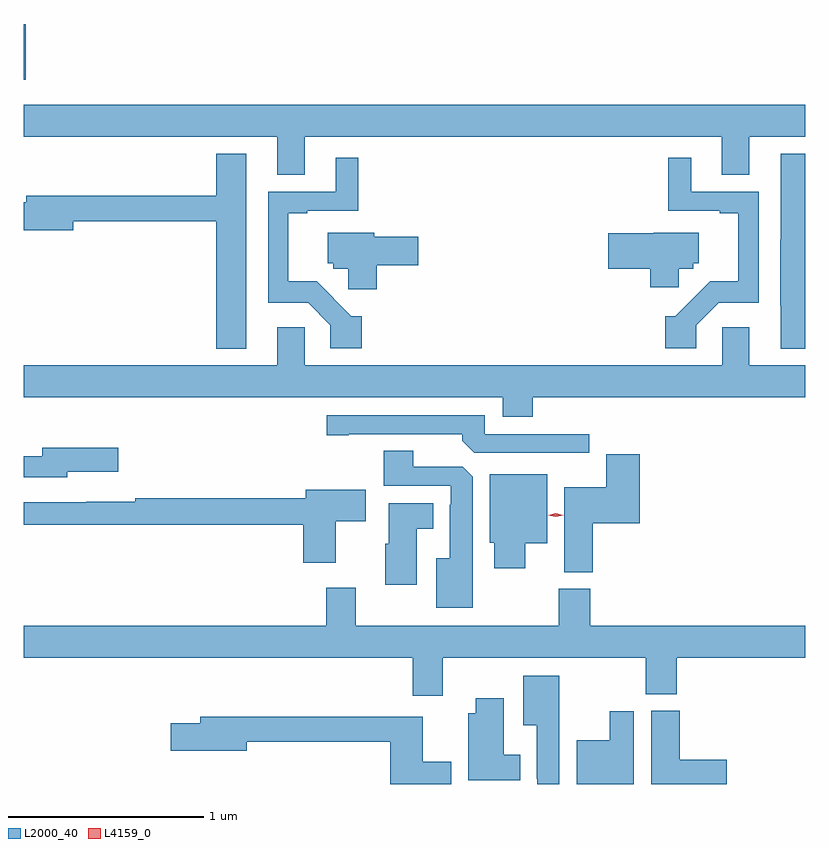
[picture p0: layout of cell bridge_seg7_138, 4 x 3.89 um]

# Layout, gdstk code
import gdstk
lib = gdstk.Library(unit=1e-6, precision=1e-09)
def R(c, l, rs):  # rectangles x0, y0, x1, y1
    for r in rs: c.add(gdstk.rectangle(r[:2], r[2:], *l))
def P(c, l, *ps):  # polygons
    for p in ps: c.add(gdstk.Polygon(p, *l))
L2000_40 = (2000, 40)
L4159_0 = (4159, 0)

bridge_seg7_138 = lib.new_cell('bridge_seg7_138')
R(bridge_seg7_138, L2000_40, [(724.244,1050.192,724.256,1050.478)])
P(bridge_seg7_138, L2000_40, [(724.244,1049.9),(725.543,1049.9),(725.543,1049.706),(725.683,1049.706),(725.683,1049.9),(727.817,1049.9),(727.817,1049.706),(727.957,1049.706),(727.957,1049.9),(728.244,1049.9),(728.244,1050.064),(724.244,1050.064)],
  [(728.244,1049.815),(728.117,1049.815),(728.117,1049.373),(728.114,1049.373),(728.114,1049.037),(728.117,1049.037),(728.117,1048.817),(728.244,1048.817)],
  [(725.383,1049.815),(725.231,1049.815),(725.231,1049.599),(724.259,1049.599),(724.259,1049.565),(724.244,1049.565),(724.244,1049.423),(724.498,1049.423),(724.498,1049.47),(725.231,1049.47),(725.231,1048.817),(725.383,1048.817)],
  [(727.686,1048.938),(727.8,1049.052),(728.005,1049.052),(728.005,1049.619),(727.66,1049.619),(727.66,1049.794),(727.543,1049.794),(727.543,1049.523),(727.805,1049.523),(727.805,1049.511),(727.901,1049.511),(727.901,1049.162),(727.757,1049.162),(727.579,1048.984),(727.526,1048.984),(727.526,1048.818),(727.686,1048.818)],
  [(725.975,1048.984),(725.921,1048.984),(725.743,1049.162),(725.599,1049.162),(725.599,1049.511),(725.695,1049.511),(725.695,1049.523),(725.957,1049.523),(725.957,1049.794),(725.84,1049.794),(725.84,1049.619),(725.495,1049.619),(725.495,1049.052),(725.7,1049.052),(725.814,1048.938),(725.814,1048.818),(725.975,1048.818)],
  [(726.05,1049.243),(726.262,1049.243),(726.262,1049.39),(726.037,1049.39),(726.037,1049.41),(725.801,1049.41),(725.801,1049.253),(725.829,1049.253),(725.829,1049.226),(725.905,1049.226),(725.905,1049.121),(726.05,1049.121)],
  [(727.596,1049.226),(727.671,1049.226),(727.671,1049.253),(727.699,1049.253),(727.699,1049.41),(727.467,1049.41),(727.467,1049.408),(727.236,1049.408),(727.236,1049.225),(727.451,1049.225),(727.451,1049.132),(727.596,1049.132)],
  [(726.848,1048.568),(728.244,1048.568),(728.244,1048.732),(727.957,1048.732),(727.957,1048.927),(727.818,1048.927),(727.818,1048.732),(725.682,1048.732),(725.682,1048.927),(725.543,1048.927),(725.543,1048.732),(724.244,1048.732),(724.244,1048.568),(726.695,1048.568),(726.695,1048.469),(726.848,1048.469)],
  [(727.138,1048.38),(726.603,1048.38),(726.603,1048.476),(725.796,1048.476),(725.796,1048.375),(725.908,1048.375),(725.908,1048.38),(726.488,1048.38),(726.488,1048.346),(726.549,1048.284),(727.138,1048.284)],
  [(724.468,1048.187),(724.729,1048.187),(724.729,1048.309),(724.34,1048.309),(724.34,1048.267),(724.244,1048.267),(724.244,1048.158),(724.468,1048.158)],
  [(726.541,1048.163),(726.492,1048.212),(726.238,1048.212),(726.238,1048.295),(726.086,1048.295),(726.086,1048.116),(726.429,1048.116),(726.429,1048.019),(726.425,1048.019),(726.425,1047.745),(726.356,1047.745),(726.356,1047.491),(726.541,1047.491)],
  [(727.157,1047.923),(727.397,1047.923),(727.397,1048.276),(727.226,1048.276),(727.226,1048.108),(727.01,1048.108),(727.01,1047.673),(727.157,1047.673)],
  [(726.811,1047.821),(726.922,1047.821),(726.922,1048.174),(726.629,1048.174),(726.629,1047.825),(726.653,1047.825),(726.653,1047.693),(726.811,1047.693)],
  [(725.842,1047.934),(725.995,1047.934),(725.995,1048.096),(725.687,1048.096),(725.687,1048.052),(724.816,1048.052),(724.816,1048.033),(724.564,1048.033),(724.564,1048.032),(724.244,1048.032),(724.244,1047.916),(725.675,1047.916),(725.675,1047.723),(725.842,1047.723)],
  [(726.256,1047.896),(726.34,1047.896),(726.34,1048.027),(726.113,1048.027),(726.113,1047.819),(726.095,1047.819),(726.095,1047.609),(726.256,1047.609)],
  [(726.388,1047.236),(727.426,1047.236),(727.426,1047.049),(727.586,1047.049),(727.586,1047.236),(728.244,1047.236),(728.244,1047.4),(727.142,1047.4),(727.142,1047.588),(726.982,1047.588),(726.982,1047.4),(725.944,1047.4),(725.944,1047.595),(725.792,1047.595),(725.792,1047.4),(724.244,1047.4),(724.244,1047.236),(726.236,1047.236),(726.236,1047.042),(726.388,1047.042)],
  [(726.985,1047.145),(726.8,1047.145),(726.8,1046.891),(726.869,1046.891),(726.869,1046.617),(726.873,1046.617),(726.873,1046.59),(726.985,1046.59)],
  [(726.784,1046.74),(726.7,1046.74),(726.7,1047.028),(726.557,1047.028),(726.557,1046.953),(726.518,1046.953),(726.518,1046.609),(726.784,1046.609)],
  [(727.841,1046.713),(727.601,1046.713),(727.601,1046.964),(727.454,1046.964),(727.454,1046.59),(727.841,1046.59)],
  [(727.366,1046.962),(727.244,1046.962),(727.244,1046.815),(727.073,1046.815),(727.073,1046.59),(727.366,1046.59)],
  [(726.433,1046.703),(726.286,1046.703),(726.286,1046.935),(725.147,1046.935),(725.147,1046.901),(724.998,1046.901),(724.998,1046.759),(725.386,1046.759),(725.386,1046.806),(726.119,1046.806),(726.119,1046.59),(726.433,1046.59)])
P(bridge_seg7_138, L4159_0, [(726.967,1047.956),(726.929,1047.966),(726.929,1047.966),(726.929,1047.966),(726.967,1047.976),(727.004,1047.966),(727.005,1047.966),(727.004,1047.966)])

lib.write_gds('bridge_seg7_138.gds')
